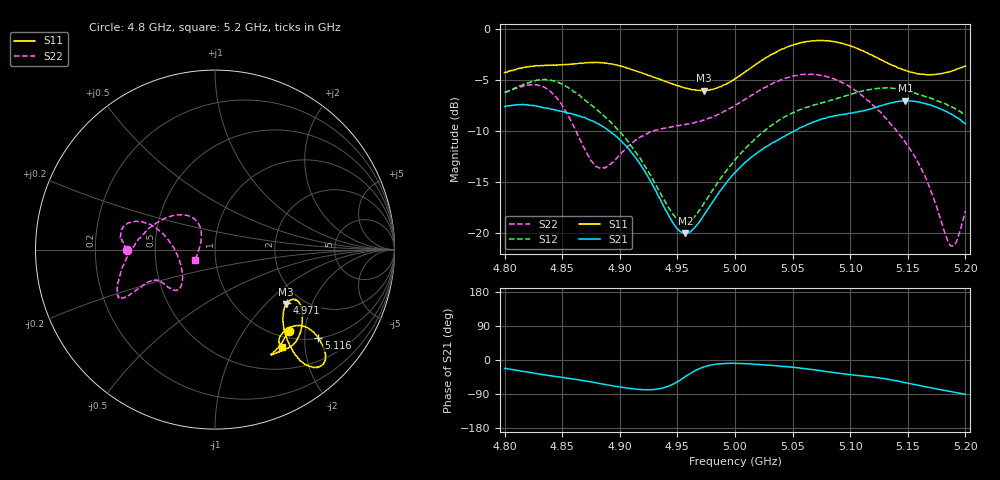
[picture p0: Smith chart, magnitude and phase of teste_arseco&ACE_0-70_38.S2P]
! Network Analyzer HP8722D
! Hewlett-Packard
! Data name: Linha & Wilkinson
! Saver's name: Rodrigo Anjos
! Comments: Teste da utilização de aquisição
! continua pelo VNA HP8722D
! Time and date: 8/5/2025 13:04
!  Frequency  S11  S21  S12  S22
# HZ  S  MA R 50
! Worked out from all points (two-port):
!   401 points, 4.8 GHz to 5.2 GHz, reference 50 ohm
!   highest |S21| = -7.04 dB at 5.148 GHz (marker M1); lowest = -20.0 dB at 4.957 GHz (marker M2)
!   |S21| within 3 dB of the highest: start of sweep to 4.891 GHz; 5.051 GHz to end of sweep
!   lowest |S11| = -6.0 dB at 4.973 GHz (marker M3), VSWR 2.99, Z = 82.4 - j66.3 ohm
!   |S11| at or under -10 dB: nowhere
!   |S22| runs from -21.3 to -4.4 dB; largest |S21 - S12| = 0.95
!   S11 on the Smith chart (normalised r, x): 4.8 GHz: 1.13, -1.64; 4.971 GHz: 1.68, -1.34; 5.116 GHz: 1.01, -2.33; 5.2 GHz: 0.82, -1.57
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4.8e9  0.6113 -47.8  0.4172 -22.2  0.488 -175.9  0.4919 -179.8
4.821e9  0.6525 -58.5  0.423 -32.6  0.5442 176.6  0.5309 171.2
4.837e9  0.662 -61.5  0.409 -40.4  0.5617 167.4  0.5082 163.1
4.85e9  0.6676 -60.2  0.3939 -45.8  0.5358 159.2  0.4217 159.0
4.867e9  0.6784 -54.9  0.371 -53.7  0.4604 150.8  0.2771 166.4
4.885e9  0.6834 -48.8  0.3332 -63.1  0.3804 144.4  0.2073 -160.5
4.909e9  0.6359 -40.3  0.2534 -75.2  0.2717 137.8  0.2714 -133.4
4.934e9  0.5699 -33.0  0.1495 -76.2  0.1619 141.1  0.3211 -135.6
4.957e9  0.513 -32.6  0.09975 -43.5  0.1123 174.5  0.3415 -144.9
4.971e9  0.5005 -36.5  0.1176 -20.8  0.1342 -162.3  0.3543 -150.5
4.973e9  0.4984 -37.3  0.1224 -18.3  0.1396 -160.1  0.3571 -151.3
5e9  0.5703 -48.0  0.1981 -8.8  0.2285 -146.9  0.4217 -154.1
5.039e9  0.7876 -52.3  0.2899 -16.0  0.3598 -148.0  0.5601 -151.9
5.067e9  0.8738 -48.3  0.348 -25.1  0.4217 -154.5  0.5989 -154.9
5.096e9  0.8409 -43.2  0.3827 -37.2  0.47 -162.7  0.5364 -167.1
5.116e9  0.7569 -40.4  0.4036 -44.0  0.5049 -172.1  0.444 175.4
5.134e9  0.6742 -40.1  0.4326 -51.5  0.5123 177.3  0.3485 153.4
5.148e9  0.6293 -42.5  0.4446 -59.8  0.4988 169.3  0.2779 135.6
5.166e9  0.5977 -48.4  0.4301 -70.9  0.4652 161.1  0.1836 122.7
5.187e9  0.6187 -54.9  0.3842 -83.2  0.4179 153.6  0.08686 158.2
5.192e9  0.6341 -55.6  0.3696 -85.9  0.4038 152.0  0.09023 -178.4
5.2e9  0.6589 -55.7  0.3427 -90.4  0.3784 149.3  0.128 -152.4
